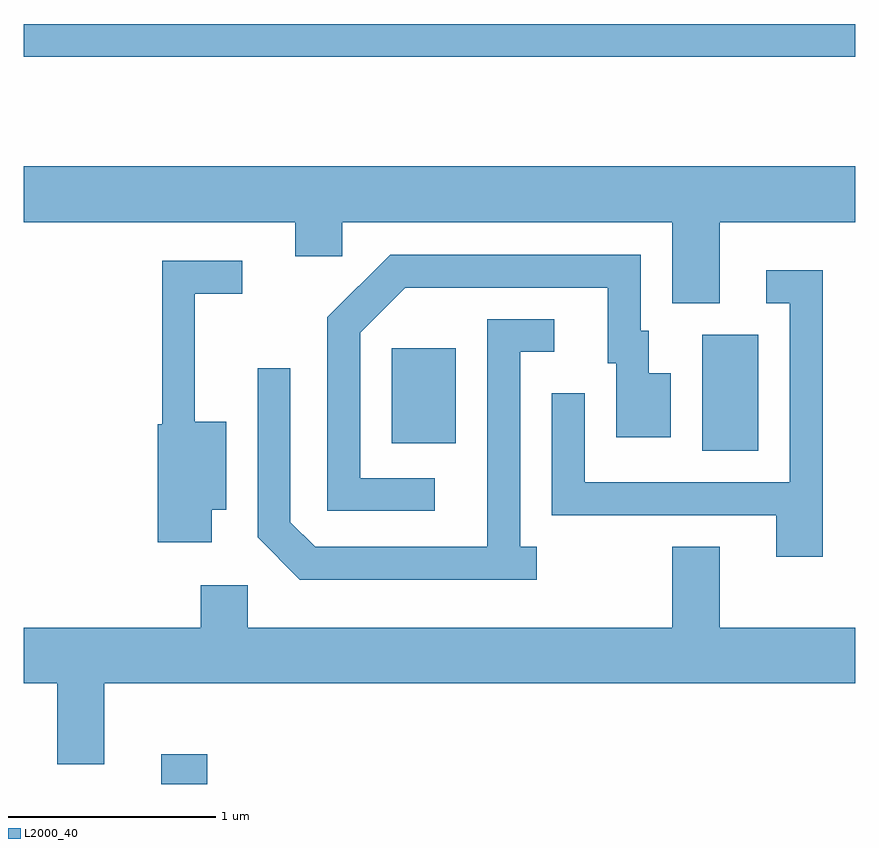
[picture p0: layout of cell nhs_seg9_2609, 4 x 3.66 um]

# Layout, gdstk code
import gdstk
lib = gdstk.Library(unit=1e-6, precision=1e-09)
def R(c, l, rs):  # rectangles x0, y0, x1, y1
    for r in rs: c.add(gdstk.rectangle(r[:2], r[2:], *l))
def P(c, l, *ps):  # polygons
    for p in ps: c.add(gdstk.Polygon(p, *l))
L2000_40 = (2000, 40)

nhs_seg9_2609 = lib.new_cell('nhs_seg9_2609')
R(nhs_seg9_2609, L2000_40, [(262.271,2002.432,262.494,2002.574), (264.876,2004.036,265.144,2004.594), (263.381,2004.071,263.689,2004.529), (261.611,2005.931,265.611,2006.089)])
P(nhs_seg9_2609, L2000_40, [(264.959,2005.136),(265.611,2005.136),(265.611,2005.404),(261.611,2005.404),(261.611,2005.136),(262.916,2005.136),(262.916,2004.971),(263.144,2004.971),(263.144,2005.136),(264.731,2005.136),(264.731,2004.746),(264.959,2004.746)],
  [(263.588,2003.904),(263.229,2003.904),(263.229,2004.604),(263.447,2004.821),(264.421,2004.821),(264.421,2004.456),(264.461,2004.456),(264.461,2004.101),(264.724,2004.101),(264.724,2004.409),(264.619,2004.409),(264.619,2004.614),(264.579,2004.614),(264.579,2004.979),(263.374,2004.979),(263.071,2004.677),(263.071,2003.746),(263.588,2003.746)],
  [(262.514,2003.751),(262.584,2003.751),(262.584,2004.174),(262.434,2004.174),(262.434,2004.791),(262.663,2004.791),(262.663,2004.949),(262.276,2004.949),(262.276,2004.164),(262.256,2004.164),(262.256,2003.596),(262.514,2003.596)],
  [(265.454,2004.904),(265.183,2004.904),(265.183,2004.746),(265.296,2004.746),(265.296,2003.884),(264.309,2003.884),(264.309,2004.313),(264.151,2004.313),(264.151,2003.726),(265.231,2003.726),(265.231,2003.526),(265.454,2003.526)],
  [(264.078,2003.574),(263.999,2003.574),(263.999,2004.511),(264.163,2004.511),(264.163,2004.669),(263.841,2004.669),(263.841,2003.574),(263.012,2003.574),(262.894,2003.692),(262.894,2004.433),(262.736,2004.433),(262.736,2003.619),(262.939,2003.416),(264.078,2003.416)],
  [(261.999,2002.916),(265.611,2002.916),(265.611,2003.184),(264.959,2003.184),(264.959,2003.574),(264.731,2003.574),(264.731,2003.184),(262.689,2003.184),(262.689,2003.389),(262.461,2003.389),(262.461,2003.184),(261.611,2003.184),(261.611,2002.916),(261.771,2002.916),(261.771,2002.526),(261.999,2002.526)])

lib.write_gds('nhs_seg9_2609.gds')
